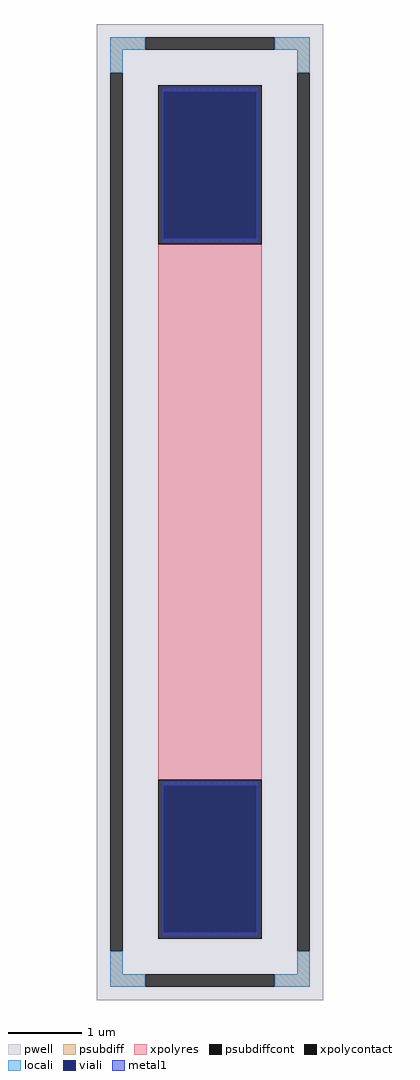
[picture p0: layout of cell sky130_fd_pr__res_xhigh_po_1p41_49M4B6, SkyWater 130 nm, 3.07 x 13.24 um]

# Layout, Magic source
magic
tech sky130A
magscale 1 2
<< pwell >>
rect -307 -1324 307 1324
<< psubdiff >>
rect -271 1254 -175 1288
rect 175 1254 271 1288
rect -271 1192 -237 1254
rect 237 1192 271 1254
rect -271 -1254 -237 -1192
rect 237 -1254 271 -1192
rect -271 -1288 -175 -1254
rect 175 -1288 271 -1254
<< psubdiffcont >>
rect -175 1254 175 1288
rect -271 -1192 -237 1192
rect 237 -1192 271 1192
rect -175 -1288 175 -1254
<< xpolycontact >>
rect -141 726 141 1158
rect -141 -1158 141 -726
<< xpolyres >>
rect -141 -726 141 726
<< locali >>
rect -271 1254 -175 1288
rect 175 1254 271 1288
rect -271 1192 -237 1254
rect 237 1192 271 1254
rect -271 -1254 -237 -1192
rect 237 -1254 271 -1192
rect -271 -1288 -175 -1254
rect 175 -1288 271 -1254
<< viali >>
rect -125 743 125 1140
rect -125 -1140 125 -743
<< metal1 >>
rect -131 1140 131 1152
rect -131 743 -125 1140
rect 125 743 131 1140
rect -131 731 131 743
rect -131 -743 131 -731
rect -131 -1140 -125 -743
rect 125 -1140 131 -743
rect -131 -1152 131 -1140
<< properties >>
string FIXED_BBOX -254 -1271 254 1271
string gencell sky130_fd_pr__res_xhigh_po_1p41
string library sky130
string parameters w 1.410 l 7.422 m 1 nx 1 wmin 1.410 lmin 0.50 rho 2000 val 10.794k dummy 0 dw 0.0 term 188.2 sterm 0.0 caplen 0 wmax 1.410 guard 1 glc 1 grc 1 gtc 1 gbc 1 compatible {sky130_fd_pr__res_xhigh_po_0p35  sky130_fd_pr__res_xhigh_po_0p69 sky130_fd_pr__res_xhigh_po_1p41  sky130_fd_pr__res_xhigh_po_2p85 sky130_fd_pr__res_xhigh_po_5p73} snake 0 full_metal 1 n_guard 0 hv_guard 0 vias 1 viagb 0 viagt 0 viagl 0 viagr 0
<< end >>
